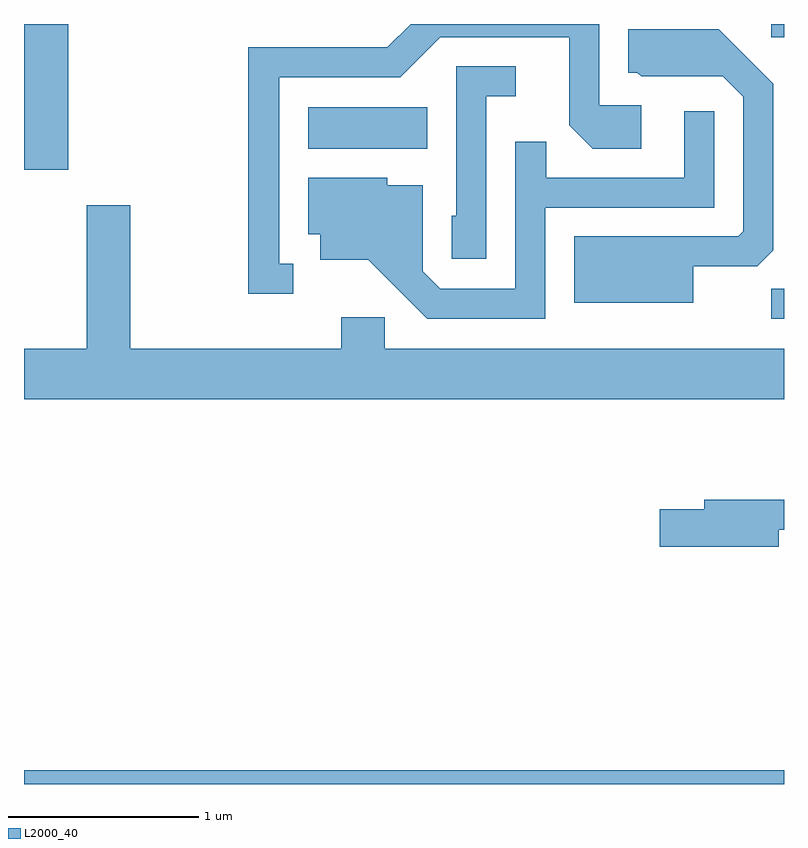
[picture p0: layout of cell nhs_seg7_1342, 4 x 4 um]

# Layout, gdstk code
import gdstk
lib = gdstk.Library(unit=1e-6, precision=1e-09)
def R(c, l, rs):  # rectangles x0, y0, x1, y1
    for r in rs: c.add(gdstk.rectangle(r[:2], r[2:], *l))
def P(c, l, *ps):  # polygons
    for p in ps: c.add(gdstk.Polygon(p, *l))
L2000_40 = (2000, 40)

nhs_seg7_1342 = lib.new_cell('nhs_seg7_1342')
R(nhs_seg7_1342, L2000_40, [(225.611,1752.252,229.611,1752.324), (229.543,1754.701,229.611,1754.859), (225.611,1755.486,225.844,1756.252), (227.106,1755.596,227.734,1755.814), (229.543,1756.181,229.611,1756.252)])
P(nhs_seg7_1342, L2000_40, [(227.028,1754.989),(226.954,1754.989),(226.954,1755.971),(227.592,1755.971),(227.802,1756.181),(228.481,1756.181),(228.481,1755.719),(228.604,1755.596),(228.859,1755.596),(228.859,1755.824),(228.639,1755.824),(228.639,1756.252),(227.647,1756.252),(227.524,1756.129),(226.791,1756.129),(226.791,1754.831),(227.028,1754.831)],
  [(229.134,1754.976),(229.469,1754.976),(229.554,1755.062),(229.554,1755.937),(229.267,1756.224),(228.791,1756.224),(228.791,1755.996),(228.839,1755.996),(228.859,1755.976),(229.289,1755.976),(229.396,1755.869),(229.396,1755.162),(229.369,1755.134),(228.506,1755.134),(228.506,1754.786),(229.134,1754.786)],
  [(228.044,1755.871),(228.198,1755.871),(228.198,1756.029),(227.886,1756.029),(227.886,1755.244),(227.861,1755.244),(227.861,1755.016),(228.044,1755.016)],
  [(228.354,1755.286),(229.244,1755.286),(229.244,1755.793),(229.086,1755.793),(229.086,1755.444),(228.359,1755.444),(228.359,1755.633),(228.196,1755.633),(228.196,1754.859),(227.802,1754.859),(227.709,1754.952),(227.709,1755.404),(227.524,1755.404),(227.524,1755.444),(227.106,1755.444),(227.106,1755.146),(227.171,1755.146),(227.171,1755.011),(227.424,1755.011),(227.734,1754.701),(228.354,1754.701)],
  [(229.611,1754.544),(227.509,1754.544),(227.509,1754.709),(227.281,1754.709),(227.281,1754.544),(226.169,1754.544),(226.169,1755.299),(225.941,1755.299),(225.941,1754.544),(225.611,1754.544),(225.611,1754.276),(229.611,1754.276)],
  [(229.584,1753.591),(229.611,1753.591),(229.611,1753.749),(229.191,1753.749),(229.191,1753.699),(228.956,1753.699),(228.956,1753.501),(229.584,1753.501)])

lib.write_gds('nhs_seg7_1342.gds')
